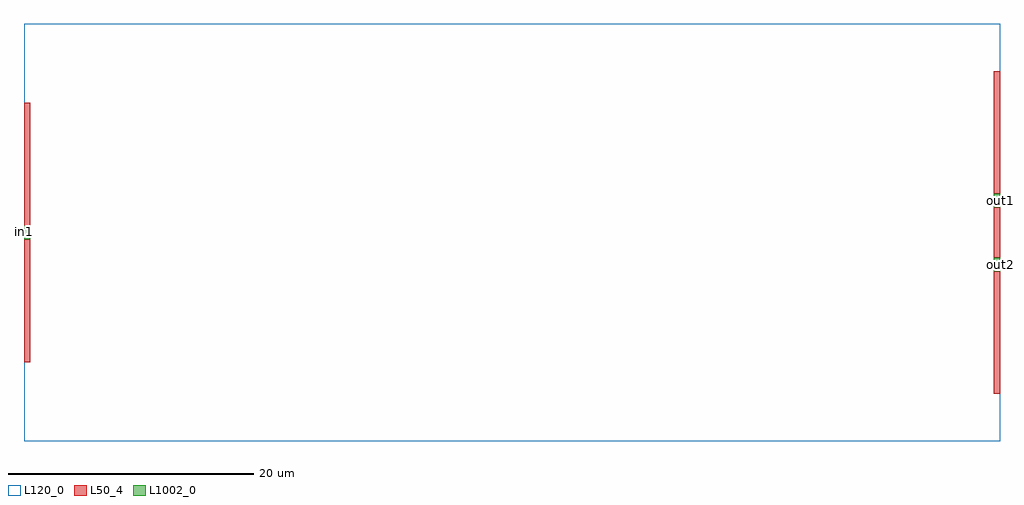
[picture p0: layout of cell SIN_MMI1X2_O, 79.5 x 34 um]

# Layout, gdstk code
import gdstk
lib = gdstk.Library(unit=1e-6, precision=1e-09)
def R(c, l, rs):  # rectangles x0, y0, x1, y1
    for r in rs: c.add(gdstk.rectangle(r[:2], r[2:], *l))
L50_4 = (50, 4)
L120_0 = (120, 0)
L1002_0 = (1002, 0)

sin_mmi1x2_o = lib.new_cell('SIN_MMI1X2_O')
R(sin_mmi1x2_o, L50_4, [(79,3.85,79.5,13.85), (0,6.45,0.5,16.45), (79,14.95,79.5,19.05), (0,17.55,0.5,27.55), (79,20.15,79.5,30.15)])
R(sin_mmi1x2_o, L120_0, [(0,0,79.5,34)])
R(sin_mmi1x2_o, L1002_0, [(79,13.85,79.5,14.95), (0,16.45,0.5,17.55), (79,19.05,79.5,20.15)])
sin_mmi1x2_o.add(gdstk.Label('out2', (79.5,14.399), layer=1000, texttype=0))
sin_mmi1x2_o.add(gdstk.Label('in1', (0,17.052), layer=1000, texttype=0))
sin_mmi1x2_o.add(gdstk.Label('out1', (79.5,19.638), layer=1000, texttype=0))

lib.write_gds('SIN_MMI1X2_O.gds')
